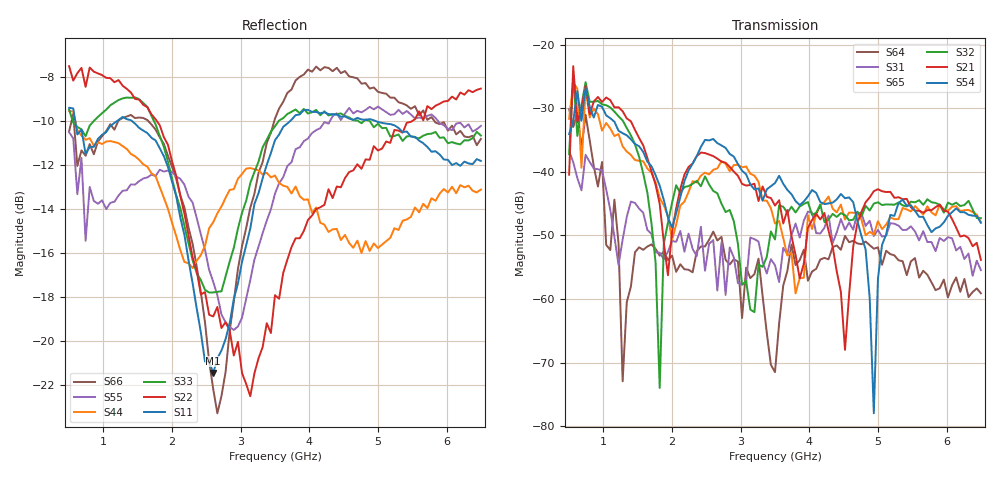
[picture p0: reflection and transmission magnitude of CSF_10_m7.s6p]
!Keysight Technologies,M9804A,MY58100912,A.14.10.03
!Date: Thursday, April 27, 2023 10:28:33
!Correction: S11(C  6-Port  )
!S12(C  6-Port  )
!S13(C  6-Port  )
!S14(C  6-Port  )
!S15(C  6-Port  )
!S16(C  6-Port  )
!S21(C  6-Port  )
!S22(C  6-Port  )
!S23(C  6-Port  )
!S24(C  6-Port  )
!S25(C  6-Port  )
!S26(C  6-Port  )
!S31(C  6-Port  )
!S32(C  6-Port  )
!S33(C  6-Port  )
!S34(C  6-Port  )
!S35(C  6-Port  )
!S36(C  6-Port  )
!S41(C  6-Port  )
!S42(C  6-Port  )
!S43(C  6-Port  )
!S44(C  6-Port  )
!S45(C  6-Port  )
!S46(C  6-Port  )
!S51(C  6-Port  )
!S52(C  6-Port  )
!S53(C  6-Port  )
!S54(C  6-Port  )
!S55(C  6-Port  )
!S56(C  6-Port  )
!S61(C  6-Port  )
!S62(C  6-Port  )
!S63(C  6-Port  )
!S64(C  6-Port  )
!S65(C  6-Port  )
!S66(C  6-Port  )
!S6P File: Measurement: :
# Hz S  RI  R 50
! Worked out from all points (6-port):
!   101 points, 500 MHz to 6.5 GHz, reference 50 ohm
!   strongest paths, dB at 500 MHz, 2 GHz, 3.5 GHz, 5 GHz, 6.5 GHz:
!     S54: -34.1, -48.7, -41.8, -56.8, -48.0
!     S21: -40.5, -49.5, -45.3, -42.7, -53.9
!     S32: -37.2, -44.9, -50.6, -44.8, -47.3
!     S65: -31.7, -50.7, -48.1, -47.8, -48.0
!     S31: -36.7, -50.9, -54.7, -49.1, -55.5
!     S64: -30.2, -53.2, -71.5, -51.9, -59.1
!   lowest |S11| = -21.5 dB at 2.6 GHz (marker M1), VSWR 1.18, Z = 42.5 + j2.23 ohm
!   |S11| at or under -10 dB: 589.7 MHz to 1.194 GHz (604.8 MHz wide, 67.8 % of centre); 1.419 GHz to 3.717 GHz (2.298 GHz wide, 89.5 % of centre); 4.973 GHz to end of sweep
